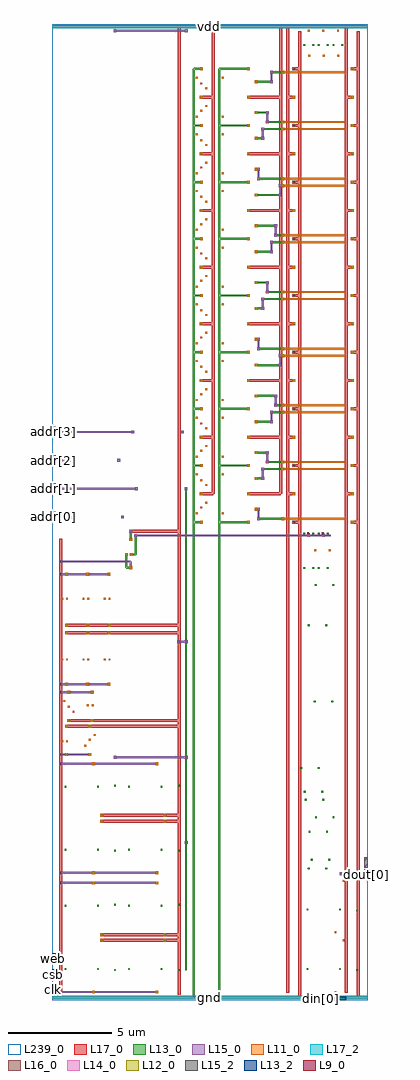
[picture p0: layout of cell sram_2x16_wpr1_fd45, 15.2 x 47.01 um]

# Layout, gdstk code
import gdstk
lib = gdstk.Library(unit=1e-6, precision=5e-10)
def R(c, l, rs):  # rectangles x0, y0, x1, y1
    for r in rs: c.add(gdstk.rectangle(r[:2], r[2:], *l))
def A(c, l, x, y, w, h, nx, ny, dx, dy):  # array of equal rectangles
    R(c, l, [(x+i*dx, y+j*dy, x+i*dx+w, y+j*dy+h) for i in range(nx) for j in range(ny)])
L9_0 = (9, 0)
L11_0 = (11, 0)
L12_0 = (12, 0)
L13_0 = (13, 0)
L13_2 = (13, 2)
L14_0 = (14, 0)
L15_0 = (15, 0)
L15_2 = (15, 2)
L16_0 = (16, 0)
L17_0 = (17, 0)
L17_2 = (17, 2)
L239_0 = (239, 0)

sram_2x16_wpr1_fd45 = lib.new_cell('sram_2x16_wpr1_fd45')
R(sram_2x16_wpr1_fd45, L9_0, [(12.275,22.445,12.365,22.535), (12.98,22.445,13.07,22.535)])
A(sram_2x16_wpr1_fd45, L11_0, 0.62, 15.145, 0.135, 0.135, 3, 2, 1.0225, 2.47)
A(sram_2x16_wpr1_fd45, L11_0, 0.6425, 15.1675, 0.09, 0.09, 3, 2, 1.0225, 2.47)
A(sram_2x16_wpr1_fd45, L11_0, 0.62, 17.975, 0.135, 0.135, 3, 2, 1.0225, 2.47)
A(sram_2x16_wpr1_fd45, L11_0, 0.6425, 17.9975, 0.09, 0.09, 3, 2, 1.0225, 2.47)
A(sram_2x16_wpr1_fd45, L11_0, 7.12, 22.95, 0.135, 0.135, 1, 17, 0, 1.365)
A(sram_2x16_wpr1_fd45, L11_0, 9.39, 22.95, 0.135, 0.135, 1, 17, 0, 1.365)
A(sram_2x16_wpr1_fd45, L11_0, 14.3925, 22.95, 0.135, 0.135, 1, 17, 0, 1.365)
A(sram_2x16_wpr1_fd45, L11_0, 7.1425, 22.9725, 0.09, 0.09, 1, 17, 0, 1.365)
A(sram_2x16_wpr1_fd45, L11_0, 9.4125, 22.9725, 0.09, 0.09, 1, 17, 0, 1.365)
A(sram_2x16_wpr1_fd45, L11_0, 11.595, 22.9725, 0.09, 0.09, 1, 17, 0, 1.365)
A(sram_2x16_wpr1_fd45, L11_0, 14.415, 22.9725, 0.09, 0.09, 1, 17, 0, 1.365)
A(sram_2x16_wpr1_fd45, L11_0, 11.5725, 24.315, 0.135, 0.135, 1, 8, 0, 2.73)
A(sram_2x16_wpr1_fd45, L11_0, 12.33, 45.4425, 0.09, 0.09, 3, 1, 0.705, 0)
A(sram_2x16_wpr1_fd45, L11_0, 12.31, 46.64, 0.09, 0.09, 3, 1, 0.705, 0)
R(sram_2x16_wpr1_fd45, L11_0, [(1.92,0.3175,2.055,0.4525), (4.98,0.3175,5.115,0.4525), (1.9425,0.34,2.0325,0.43), (5.0025,0.34,5.0925,0.43), (13.6,0.34,13.69,0.43), (2.31,2.8075,2.445,2.9425), (5.37,2.8075,5.505,2.9425), (2.3325,2.83,2.4225,2.92), (5.3925,2.83,5.4825,2.92), (13.99,2.83,14.08,2.92), (2.31,3.0825,2.445,3.2175), (5.37,3.0825,5.505,3.2175), (2.3325,3.105,2.4225,3.195), (5.3925,3.105,5.4825,3.195), (13.6,3.21,13.69,3.3), (1.92,5.5725,2.055,5.7075), (4.98,5.5725,5.115,5.7075), (1.9425,5.595,2.0325,5.685), (5.0025,5.595,5.0925,5.685), (13.99,5.7,14.08,5.79), (1.92,6.0575,2.055,6.1925), (4.98,6.0575,5.115,6.1925), (1.9425,6.08,2.0325,6.17), (5.0025,6.08,5.0925,6.17), (2.31,8.5475,2.445,8.6825), (5.37,8.5475,5.505,8.6825), (2.3325,8.57,2.4225,8.66), (5.3925,8.57,5.4825,8.66), (2.31,8.8225,2.445,8.9575), (5.37,8.8225,5.505,8.9575), (2.3325,8.845,2.4225,8.935), (5.3925,8.845,5.4825,8.935), (1.92,11.3125,2.055,11.4475), (4.98,11.3125,5.115,11.4475), (1.9425,11.335,2.0325,11.425), (5.0025,11.335,5.0925,11.425), (0.62,11.76,0.755,11.895), (1.7475,11.76,1.8825,11.895), (0.6425,11.7825,0.7325,11.8725), (1.77,11.7825,1.86,11.8725), (1.5525,12.21,1.6425,12.3), (0.4375,12.42,0.5275,12.51), (0.67,12.42,0.76,12.51), (1.7675,12.49,1.8575,12.58), (2.005,12.7225,2.095,12.8125), (0.62,13.125,0.755,13.26), (1.7475,13.125,1.8825,13.26), (0.6425,13.1475,0.7325,13.2375), (1.77,13.1475,1.86,13.2375), (0.725,13.395,0.86,13.53), (1.8575,13.395,1.9925,13.53), (0.7475,13.4175,0.8375,13.5075), (1.88,13.4175,1.97,13.5075), (0.9825,13.8425,1.0725,13.9325), (0.745,14.075,0.835,14.165), (1.675,14.145,1.765,14.235), (1.9075,14.145,1.9975,14.235), (0.53,14.355,0.62,14.445), (0.725,14.76,0.86,14.895), (1.8575,14.76,1.9925,14.895), (0.7475,14.7825,0.8375,14.8725), (1.88,14.7825,1.97,14.8725), (0.4375,16.3575,0.5275,16.4475), (0.67,16.3575,0.76,16.4475), (1.46,16.3575,1.55,16.4475), (1.6925,16.3575,1.7825,16.4475), (2.4825,16.3575,2.5725,16.4475), (2.715,16.3575,2.805,16.4475), (0.4375,19.2775,0.5275,19.3675), (0.67,19.2775,0.76,19.3675), (1.46,19.2775,1.55,19.3675), (1.6925,19.2775,1.7825,19.3675), (2.4825,19.2775,2.5725,19.3675), (2.715,19.2775,2.805,19.3675), (3.7125,20.755,3.8475,20.89), (3.735,20.7775,3.825,20.8675), (3.5075,21.3925,3.6425,21.5275), (3.74,21.3925,3.875,21.5275), (3.53,21.415,3.62,21.505), (3.7625,21.415,3.8525,21.505), (12.6275,21.6275,12.7175,21.7175), (13.3325,21.6275,13.4225,21.7175), (3.7125,22.12,3.8475,22.255), (3.735,22.1425,3.825,22.2325), (11.0325,23.1175,11.1675,23.2525), (11.1,23.14,14.13,23.23), (6.925,23.4,7.015,23.49), (8.1625,23.4,8.2525,23.49), (9.7625,23.5725,9.8975,23.7075), (9.785,23.595,9.875,23.685), (7.14,23.68,7.23,23.77), (7.3775,23.9125,7.4675,24.0025), (7.3775,24.7625,7.4675,24.8525), (7.14,24.995,7.23,25.085), (9.7625,25.0575,9.8975,25.1925), (9.785,25.08,9.875,25.17), (6.925,25.275,7.015,25.365), (8.1625,25.275,8.2525,25.365), (11.0325,25.5125,11.1675,25.6475), (11.1,25.535,14.13,25.625), (11.0325,25.8475,11.1675,25.9825), (11.1,25.87,14.13,25.96), (6.925,26.13,7.015,26.22), (8.1625,26.13,8.2525,26.22), (9.7625,26.3025,9.8975,26.4375), (9.785,26.325,9.875,26.415), (7.14,26.41,7.23,26.5), (7.3775,26.6425,7.4675,26.7325), (7.3775,27.4925,7.4675,27.5825), (7.14,27.725,7.23,27.815), (9.7625,27.7875,9.8975,27.9225), (9.785,27.81,9.875,27.9), (6.925,28.005,7.015,28.095), (8.1625,28.005,8.2525,28.095), (11.0325,28.2425,11.1675,28.3775), (11.1,28.265,14.13,28.355), (11.0325,28.5775,11.1675,28.7125), (11.1,28.6,14.13,28.69), (6.925,28.86,7.015,28.95), (8.1625,28.86,8.2525,28.95), (9.7625,29.0325,9.8975,29.1675), (9.785,29.055,9.875,29.145), (7.14,29.14,7.23,29.23), (7.3775,29.3725,7.4675,29.4625), (7.3775,30.2225,7.4675,30.3125), (7.14,30.455,7.23,30.545), (9.7625,30.5175,9.8975,30.6525), (9.785,30.54,9.875,30.63), (6.925,30.735,7.015,30.825), (8.1625,30.735,8.2525,30.825), (11.0325,30.9725,11.1675,31.1075), (11.1,30.995,14.13,31.085), (11.0325,31.3075,11.1675,31.4425), (11.1,31.33,14.13,31.42), (6.925,31.59,7.015,31.68), (8.1625,31.59,8.2525,31.68), (9.7625,31.7625,9.8975,31.8975), (9.785,31.785,9.875,31.875), (7.14,31.87,7.23,31.96), (7.3775,32.1025,7.4675,32.1925), (7.3775,32.9525,7.4675,33.0425), (7.14,33.185,7.23,33.275), (9.7625,33.2475,9.8975,33.3825), (9.785,33.27,9.875,33.36), (6.925,33.465,7.015,33.555), (8.1625,33.465,8.2525,33.555), (11.0325,33.7025,11.1675,33.8375), (11.1,33.725,14.13,33.815), (11.0325,34.0375,11.1675,34.1725), (11.1,34.06,14.13,34.15), (6.925,34.32,7.015,34.41), (8.1625,34.32,8.2525,34.41), (9.7625,34.4925,9.8975,34.6275), (9.785,34.515,9.875,34.605), (7.14,34.6,7.23,34.69), (7.3775,34.8325,7.4675,34.9225), (7.3775,35.6825,7.4675,35.7725), (7.14,35.915,7.23,36.005), (9.7625,35.9775,9.8975,36.1125), (9.785,36,9.875,36.09), (6.925,36.195,7.015,36.285), (8.1625,36.195,8.2525,36.285), (11.0325,36.4325,11.1675,36.5675), (11.1,36.455,14.13,36.545), (11.0325,36.7675,11.1675,36.9025), (11.1,36.79,14.13,36.88), (6.925,37.05,7.015,37.14), (8.1625,37.05,8.2525,37.14), (9.7625,37.2225,9.8975,37.3575), (9.785,37.245,9.875,37.335), (7.14,37.33,7.23,37.42), (7.3775,37.5625,7.4675,37.6525), (7.3775,38.4125,7.4675,38.5025), (7.14,38.645,7.23,38.735), (9.7625,38.7075,9.8975,38.8425), (9.785,38.73,9.875,38.82), (6.925,38.925,7.015,39.015), (8.1625,38.925,8.2525,39.015), (11.0325,39.1625,11.1675,39.2975), (11.1,39.185,14.13,39.275), (11.0325,39.4975,11.1675,39.6325), (11.1,39.52,14.13,39.61), (6.925,39.78,7.015,39.87), (8.1625,39.78,8.2525,39.87), (9.7625,39.9525,9.8975,40.0875), (9.785,39.975,9.875,40.065), (7.14,40.06,7.23,40.15), (7.3775,40.2925,7.4675,40.3825), (7.3775,41.1425,7.4675,41.2325), (7.14,41.375,7.23,41.465), (9.7625,41.4375,9.8975,41.5725), (9.785,41.46,9.875,41.55), (6.925,41.655,7.015,41.745), (8.1625,41.655,8.2525,41.745), (11.0325,41.8925,11.1675,42.0275), (11.1,41.915,14.13,42.005), (11.0325,42.2275,11.1675,42.3625), (11.1,42.25,14.13,42.34), (6.925,42.51,7.015,42.6), (8.1625,42.51,8.2525,42.6), (9.7625,42.6825,9.8975,42.8175), (9.785,42.705,9.875,42.795), (7.14,42.79,7.23,42.88), (7.3775,43.0225,7.4675,43.1125), (7.3775,43.8725,7.4675,43.9625), (7.14,44.105,7.23,44.195), (9.7625,44.1675,9.8975,44.3025), (9.785,44.19,9.875,44.28), (6.925,44.385,7.015,44.475), (8.1625,44.385,8.2525,44.475), (11.0325,44.6225,11.1675,44.7575), (11.1,44.645,14.13,44.735)])
A(sram_2x16_wpr1_fd45, L12_0, 0.655, 15.18, 0.065, 0.065, 3, 2, 1.0225, 2.47)
A(sram_2x16_wpr1_fd45, L12_0, 0.655, 18.01, 0.065, 0.065, 3, 2, 1.0225, 2.47)
R(sram_2x16_wpr1_fd45, L12_0, [(1.955,0.3525,2.02,0.4175), (5.015,0.3525,5.08,0.4175), (2.345,2.8425,2.41,2.9075), (5.405,2.8425,5.47,2.9075), (2.345,3.1175,2.41,3.1825), (5.405,3.1175,5.47,3.1825), (1.955,5.6075,2.02,5.6725), (5.015,5.6075,5.08,5.6725), (1.955,6.0925,2.02,6.1575), (5.015,6.0925,5.08,6.1575), (2.345,8.5825,2.41,8.6475), (5.405,8.5825,5.47,8.6475), (2.345,8.8575,2.41,8.9225), (5.405,8.8575,5.47,8.9225), (1.955,11.3475,2.02,11.4125), (5.015,11.3475,5.08,11.4125), (0.655,11.795,0.72,11.86), (1.7825,11.795,1.8475,11.86), (0.655,13.16,0.72,13.225), (1.7825,13.16,1.8475,13.225), (0.76,13.43,0.825,13.495), (1.8925,13.43,1.9575,13.495), (0.76,14.795,0.825,14.86), (1.8925,14.795,1.9575,14.86), (3.7475,20.79,3.8125,20.855), (3.5425,21.4275,3.6075,21.4925), (3.775,21.4275,3.84,21.4925), (3.7475,22.155,3.8125,22.22), (7.155,22.985,7.22,23.05), (9.425,22.985,9.49,23.05), (14.4275,22.985,14.4925,23.05), (11.0675,23.1525,11.1325,23.2175), (9.7975,23.6075,9.8625,23.6725), (7.155,24.35,7.22,24.415), (7.155,24.35,7.22,24.415), (9.425,24.35,9.49,24.415), (9.425,24.35,9.49,24.415), (11.6075,24.35,11.6725,24.415), (11.6075,24.35,11.6725,24.415), (14.4275,24.35,14.4925,24.415), (14.4275,24.35,14.4925,24.415), (9.7975,25.0925,9.8625,25.1575), (11.0675,25.5475,11.1325,25.6125), (7.155,25.715,7.22,25.78), (7.155,25.715,7.22,25.78), (9.425,25.715,9.49,25.78), (9.425,25.715,9.49,25.78), (14.4275,25.715,14.4925,25.78), (14.4275,25.715,14.4925,25.78), (11.0675,25.8825,11.1325,25.9475), (9.7975,26.3375,9.8625,26.4025), (7.155,27.08,7.22,27.145), (7.155,27.08,7.22,27.145), (9.425,27.08,9.49,27.145), (9.425,27.08,9.49,27.145), (11.6075,27.08,11.6725,27.145), (11.6075,27.08,11.6725,27.145), (14.4275,27.08,14.4925,27.145), (14.4275,27.08,14.4925,27.145), (9.7975,27.8225,9.8625,27.8875), (11.0675,28.2775,11.1325,28.3425), (7.155,28.445,7.22,28.51), (7.155,28.445,7.22,28.51), (9.425,28.445,9.49,28.51), (9.425,28.445,9.49,28.51), (14.4275,28.445,14.4925,28.51), (14.4275,28.445,14.4925,28.51), (11.0675,28.6125,11.1325,28.6775), (9.7975,29.0675,9.8625,29.1325), (7.155,29.81,7.22,29.875), (7.155,29.81,7.22,29.875), (9.425,29.81,9.49,29.875), (9.425,29.81,9.49,29.875), (11.6075,29.81,11.6725,29.875), (11.6075,29.81,11.6725,29.875), (14.4275,29.81,14.4925,29.875), (14.4275,29.81,14.4925,29.875), (9.7975,30.5525,9.8625,30.6175), (11.0675,31.0075,11.1325,31.0725), (7.155,31.175,7.22,31.24), (7.155,31.175,7.22,31.24), (9.425,31.175,9.49,31.24), (9.425,31.175,9.49,31.24), (14.4275,31.175,14.4925,31.24), (14.4275,31.175,14.4925,31.24), (11.0675,31.3425,11.1325,31.4075), (9.7975,31.7975,9.8625,31.8625), (7.155,32.54,7.22,32.605), (7.155,32.54,7.22,32.605), (9.425,32.54,9.49,32.605), (9.425,32.54,9.49,32.605), (11.6075,32.54,11.6725,32.605), (11.6075,32.54,11.6725,32.605), (14.4275,32.54,14.4925,32.605), (14.4275,32.54,14.4925,32.605), (9.7975,33.2825,9.8625,33.3475), (11.0675,33.7375,11.1325,33.8025), (7.155,33.905,7.22,33.97), (7.155,33.905,7.22,33.97), (9.425,33.905,9.49,33.97), (9.425,33.905,9.49,33.97), (14.4275,33.905,14.4925,33.97), (14.4275,33.905,14.4925,33.97), (11.0675,34.0725,11.1325,34.1375), (9.7975,34.5275,9.8625,34.5925), (7.155,35.27,7.22,35.335), (7.155,35.27,7.22,35.335), (9.425,35.27,9.49,35.335), (9.425,35.27,9.49,35.335), (11.6075,35.27,11.6725,35.335), (11.6075,35.27,11.6725,35.335), (14.4275,35.27,14.4925,35.335), (14.4275,35.27,14.4925,35.335), (9.7975,36.0125,9.8625,36.0775), (11.0675,36.4675,11.1325,36.5325), (7.155,36.635,7.22,36.7), (7.155,36.635,7.22,36.7), (9.425,36.635,9.49,36.7), (9.425,36.635,9.49,36.7), (14.4275,36.635,14.4925,36.7), (14.4275,36.635,14.4925,36.7), (11.0675,36.8025,11.1325,36.8675), (9.7975,37.2575,9.8625,37.3225), (7.155,38,7.22,38.065), (7.155,38,7.22,38.065), (9.425,38,9.49,38.065), (9.425,38,9.49,38.065), (11.6075,38,11.6725,38.065), (11.6075,38,11.6725,38.065), (14.4275,38,14.4925,38.065), (14.4275,38,14.4925,38.065), (9.7975,38.7425,9.8625,38.8075), (11.0675,39.1975,11.1325,39.2625), (7.155,39.365,7.22,39.43), (7.155,39.365,7.22,39.43), (9.425,39.365,9.49,39.43), (9.425,39.365,9.49,39.43), (14.4275,39.365,14.4925,39.43), (14.4275,39.365,14.4925,39.43), (11.0675,39.5325,11.1325,39.5975), (9.7975,39.9875,9.8625,40.0525), (7.155,40.73,7.22,40.795), (7.155,40.73,7.22,40.795), (9.425,40.73,9.49,40.795), (9.425,40.73,9.49,40.795), (11.6075,40.73,11.6725,40.795), (11.6075,40.73,11.6725,40.795), (14.4275,40.73,14.4925,40.795), (14.4275,40.73,14.4925,40.795), (9.7975,41.4725,9.8625,41.5375), (11.0675,41.9275,11.1325,41.9925), (7.155,42.095,7.22,42.16), (7.155,42.095,7.22,42.16), (9.425,42.095,9.49,42.16), (9.425,42.095,9.49,42.16), (14.4275,42.095,14.4925,42.16), (14.4275,42.095,14.4925,42.16), (11.0675,42.2625,11.1325,42.3275), (9.7975,42.7175,9.8625,42.7825), (7.155,43.46,7.22,43.525), (7.155,43.46,7.22,43.525), (9.425,43.46,9.49,43.525), (9.425,43.46,9.49,43.525), (11.6075,43.46,11.6725,43.525), (11.6075,43.46,11.6725,43.525), (14.4275,43.46,14.4925,43.525), (14.4275,43.46,14.4925,43.525), (9.7975,44.2025,9.8625,44.2675), (11.0675,44.6575,11.1325,44.7225), (7.155,44.825,7.22,44.89), (9.425,44.825,9.49,44.89), (14.4275,44.825,14.4925,44.89)])
A(sram_2x16_wpr1_fd45, L13_0, 0, 0.2425, 0.16, 0.5, 1, 3, 0, 0.75)
A(sram_2x16_wpr1_fd45, L13_0, 0.16, 0.4575, 0.1825, 0.07, 1, 3, 0, 0.75)
A(sram_2x16_wpr1_fd45, L13_0, 0.62, 15.145, 0.135, 0.135, 3, 2, 1.0225, 2.47)
A(sram_2x16_wpr1_fd45, L13_0, 0.62, 17.975, 0.135, 0.135, 3, 2, 1.0225, 2.47)
A(sram_2x16_wpr1_fd45, L13_0, 7.12, 22.95, 0.135, 0.135, 1, 17, 0, 1.365)
A(sram_2x16_wpr1_fd45, L13_0, 9.39, 22.95, 0.135, 0.135, 1, 17, 0, 1.365)
A(sram_2x16_wpr1_fd45, L13_0, 14.3925, 22.95, 0.135, 0.135, 1, 17, 0, 1.365)
A(sram_2x16_wpr1_fd45, L13_0, 6.8175, 22.9725, 0.37, 0.09, 1, 9, 0, 2.73)
A(sram_2x16_wpr1_fd45, L13_0, 8.055, 22.9725, 1.4025, 0.09, 1, 9, 0, 2.73)
A(sram_2x16_wpr1_fd45, L13_0, 9.8675, 23.1175, 0.135, 0.135, 1, 3, 0, 8.19)
A(sram_2x16_wpr1_fd45, L13_0, 9.935, 23.14, 1.165, 0.09, 1, 3, 0, 8.19)
A(sram_2x16_wpr1_fd45, L13_0, 9.7625, 23.5725, 0.24, 0.135, 1, 3, 0, 8.19)
A(sram_2x16_wpr1_fd45, L13_0, 9.83, 23.595, 0.105, 0.09, 1, 3, 0, 8.19)
A(sram_2x16_wpr1_fd45, L13_0, 11.5725, 24.315, 0.135, 0.135, 1, 8, 0, 2.73)
A(sram_2x16_wpr1_fd45, L13_0, 9.83, 25.08, 0.315, 0.09, 1, 3, 0, 8.19)
A(sram_2x16_wpr1_fd45, L13_0, 10.145, 25.535, 0.955, 0.09, 1, 3, 0, 8.19)
A(sram_2x16_wpr1_fd45, L13_0, 10.355, 25.87, 0.745, 0.09, 1, 3, 0, 8.19)
A(sram_2x16_wpr1_fd45, L13_0, 9.83, 26.325, 0.525, 0.09, 1, 3, 0, 8.19)
A(sram_2x16_wpr1_fd45, L13_0, 9.83, 27.81, 0.735, 0.09, 1, 3, 0, 8.19)
A(sram_2x16_wpr1_fd45, L13_0, 10.565, 28.265, 0.535, 0.09, 1, 3, 0, 8.19)
R(sram_2x16_wpr1_fd45, L13_0, [(12.7025,0,13.2025,0.16), (13.6575,0,14.1575,0.16), (6.75,0.0575,6.885,0.1925), (7.9875,0.0575,8.1225,0.1925), (6.7725,0.125,6.8625,44.8575), (8.01,0.125,8.1,44.8575), (1.92,0.3175,2.055,0.4525), (4.98,0.3175,5.115,0.4525), (2.9825,1.3975,3.0725,1.4875), (6.0425,1.3975,6.1325,1.4875), (14.64,1.3975,14.73,1.4875), (6.4025,1.4425,6.4925,24.6325), (0.5925,1.4475,0.6825,1.5375), (2.1625,1.4475,2.2525,1.5375), (3.6525,1.4475,3.7425,1.5375), (5.2225,1.4475,5.3125,1.5375), (12.25,1.4475,12.34,1.5375), (13.82,1.4475,13.91,1.5375), (2.31,2.8075,2.445,2.9425), (5.37,2.8075,5.505,2.9425), (2.31,3.0825,2.445,3.2175), (5.37,3.0825,5.505,3.2175), (14.64,4.2675,14.73,4.3575), (12.25,4.3175,12.34,4.4075), (13.82,4.3175,13.91,4.4075), (0.5925,4.4875,0.6825,4.5775), (2.1625,4.4875,2.2525,4.5775), (3.6525,4.4875,3.7425,4.5775), (5.2225,4.4875,5.3125,4.5775), (2.9825,4.5375,3.0725,4.6275), (6.0425,4.5375,6.1325,4.6275), (1.92,5.5725,2.055,5.7075), (4.98,5.5725,5.115,5.7075), (13.84,6.01,13.975,6.145), (14.6175,6.01,14.7525,6.145), (1.92,6.0575,2.055,6.1925), (4.98,6.0575,5.115,6.1925), (12.3075,6.29,12.3975,6.38), (13.1475,6.29,13.2375,6.38), (12.46,6.7175,12.55,6.8075), (13.3,6.7175,13.39,6.8075), (2.9825,7.1375,3.0725,7.2275), (6.0425,7.1375,6.1325,7.2275), (0.5925,7.1875,0.6825,7.2775), (2.1625,7.1875,2.2525,7.2775), (3.6525,7.1875,3.7425,7.2775), (5.2225,7.1875,5.3125,7.2775), (12.35,8.055,12.44,8.145), (13.19,8.055,13.28,8.145), (2.31,8.5475,2.445,8.6825), (5.37,8.5475,5.505,8.6825), (12.6625,8.75,12.7525,8.84), (13.5025,8.75,13.5925,8.84), (2.31,8.8225,2.445,8.9575), (5.37,8.8225,5.505,8.9575), (12.175,9.5975,12.265,9.6875), (13.015,9.5975,13.105,9.6875), (12.1275,9.995,12.2175,10.085), (12.9675,9.995,13.0575,10.085), (0.5925,10.2275,0.6825,10.3175), (2.1625,10.2275,2.2525,10.3175), (3.6525,10.2275,3.7425,10.3175), (5.2225,10.2275,5.3125,10.3175), (2.9825,10.2775,3.0725,10.3675), (6.0425,10.2775,6.1325,10.3675), (11.95,11.1325,12.04,11.2225), (12.79,11.1325,12.88,11.2225), (1.92,11.3125,2.055,11.4475), (4.98,11.3125,5.115,11.4475), (2.96,11.6275,3.095,11.7625), (0.62,11.76,0.755,11.895), (1.7475,11.76,1.8825,11.895), (0.62,13.125,0.755,13.26), (1.7475,13.125,1.8825,13.26), (0.725,13.395,0.86,13.53), (1.8575,13.395,1.9925,13.53), (12.61,14.335,12.7,14.425), (13.45,14.335,13.54,14.425), (0.725,14.76,0.86,14.895), (1.8575,14.76,1.9925,14.895), (6.02,17.195,6.155,17.33), (12.3075,18.0125,12.3975,18.1025), (13.1475,18.0125,13.2375,18.1025), (12.6575,19.9475,12.7475,20.0375), (13.4975,19.9475,13.5875,20.0375), (3.7125,20.755,3.8475,20.89), (12.0975,20.7675,12.1875,20.8575), (12.5225,20.7675,12.6125,20.8575), (12.8025,20.7675,12.8925,20.8575), (13.2275,20.7675,13.3175,20.8575), (3.575,20.7775,3.78,20.8675), (3.53,20.8225,3.62,21.46), (3.5075,21.3925,3.6425,21.5275), (3.74,21.3925,3.875,21.5275), (3.8075,21.415,4.0275,21.505), (3.9825,21.46,4.0725,22.3775), (3.7125,22.12,3.8475,22.255), (3.735,22.1875,3.825,22.5875), (3.96,22.31,4.095,22.445), (12.285,22.31,12.42,22.445), (12.99,22.31,13.125,22.445), (12.3075,22.3775,12.3975,22.49), (13.0125,22.3775,13.1025,22.49), (12.0975,22.4275,12.1875,22.5175), (12.5225,22.4275,12.6125,22.5175), (12.8025,22.4275,12.8925,22.5175), (13.2275,22.4275,13.3175,22.5175), (3.7125,22.52,3.8475,22.655), (11.0325,23.1175,11.1675,23.2525), (0.93,23.2,1.065,23.335), (3.32,23.2,3.455,23.335), (3.99,24.565,4.125,24.7), (6.38,24.565,6.515,24.7), (9.7625,25.0575,9.8975,25.1925), (10.0775,25.0575,10.2125,25.1925), (10.0775,25.5125,10.2125,25.6475), (11.0325,25.5125,11.1675,25.6475), (10.2875,25.8475,10.4225,25.9825), (11.0325,25.8475,11.1675,25.9825), (0.75,25.93,0.885,26.065), (3.14,25.93,3.275,26.065), (9.7625,26.3025,9.8975,26.4375), (10.2875,26.3025,10.4225,26.4375), (3.81,27.295,3.945,27.43), (6.2,27.295,6.335,27.43), (9.7625,27.7875,9.8975,27.9225), (10.4975,27.7875,10.6325,27.9225), (10.4975,28.2425,10.6325,28.3775), (11.0325,28.2425,11.1675,28.3775), (10.7075,28.5775,10.8425,28.7125), (11.0325,28.5775,11.1675,28.7125), (10.775,28.6,11.1,28.69), (9.7625,29.0325,9.8975,29.1675), (10.7075,29.0325,10.8425,29.1675), (9.83,29.055,10.775,29.145), (9.7625,30.5175,9.8975,30.6525), (10.9175,30.5175,11.0525,30.6525), (9.83,30.54,10.985,30.63), (10.9175,30.9725,11.1675,31.1075), (10.985,30.995,11.1,31.085), (11.0325,31.3075,11.1675,31.4425), (9.7625,33.2475,9.8975,33.3825), (10.0775,33.2475,10.2125,33.3825), (10.0775,33.7025,10.2125,33.8375), (11.0325,33.7025,11.1675,33.8375), (10.2875,34.0375,10.4225,34.1725), (11.0325,34.0375,11.1675,34.1725), (9.7625,34.4925,9.8975,34.6275), (10.2875,34.4925,10.4225,34.6275), (9.7625,35.9775,9.8975,36.1125), (10.4975,35.9775,10.6325,36.1125), (10.4975,36.4325,10.6325,36.5675), (11.0325,36.4325,11.1675,36.5675), (10.7075,36.7675,10.8425,36.9025), (11.0325,36.7675,11.1675,36.9025), (10.775,36.79,11.1,36.88), (9.7625,37.2225,9.8975,37.3575), (10.7075,37.2225,10.8425,37.3575), (9.83,37.245,10.775,37.335), (9.7625,38.7075,9.8975,38.8425), (10.9175,38.7075,11.0525,38.8425), (9.83,38.73,10.985,38.82), (10.9175,39.1625,11.1675,39.2975), (10.985,39.185,11.1,39.275), (11.0325,39.4975,11.1675,39.6325), (9.7625,41.4375,9.8975,41.5725), (10.0775,41.4375,10.2125,41.5725), (10.0775,41.8925,10.2125,42.0275), (11.0325,41.8925,11.1675,42.0275), (10.2875,42.2275,10.4225,42.3625), (11.0325,42.2275,11.1675,42.3625), (9.7625,42.6825,9.8975,42.8175), (10.2875,42.6825,10.4225,42.8175), (9.7625,44.1675,9.8975,44.3025), (10.4975,44.1675,10.6325,44.3025), (10.4975,44.6225,10.6325,44.7575), (11.0325,44.6225,11.1675,44.7575), (12.0975,45.9575,12.1875,46.0475), (12.5225,45.9575,12.6125,46.0475), (12.8025,45.9575,12.8925,46.0475), (13.2275,45.9575,13.3175,46.0475), (13.5075,45.9575,13.5975,46.0475), (13.9325,45.9575,14.0225,46.0475), (2.96,46.6175,3.095,46.7525), (6.395,46.6175,6.53,46.7525)])
A(sram_2x16_wpr1_fd45, L13_2, 0, 0.2425, 0.16, 0.5, 1, 3, 0, 0.75)
R(sram_2x16_wpr1_fd45, L13_2, [(12.7025,0,13.2025,0.16), (13.6575,0,14.1575,0.16)])
A(sram_2x16_wpr1_fd45, L14_0, 0.655, 15.18, 0.065, 0.065, 3, 2, 1.0225, 2.47)
A(sram_2x16_wpr1_fd45, L14_0, 0.655, 18.01, 0.065, 0.065, 3, 2, 1.0225, 2.47)
R(sram_2x16_wpr1_fd45, L14_0, [(6.785,0.0925,6.85,0.1575), (6.785,0.0925,6.85,0.1575), (6.785,0.0925,6.85,0.1575), (6.785,0.0925,6.85,0.1575), (6.785,0.0925,6.85,0.1575), (6.785,0.0925,6.85,0.1575), (6.785,0.0925,6.85,0.1575), (6.785,0.0925,6.85,0.1575), (6.785,0.0925,6.85,0.1575), (6.785,0.0925,6.85,0.1575), (6.785,0.0925,6.85,0.1575), (6.785,0.0925,6.85,0.1575), (6.785,0.0925,6.85,0.1575), (6.785,0.0925,6.85,0.1575), (6.785,0.0925,6.85,0.1575), (6.785,0.0925,6.85,0.1575), (8.0225,0.0925,8.0875,0.1575), (8.0225,0.0925,8.0875,0.1575), (8.0225,0.0925,8.0875,0.1575), (8.0225,0.0925,8.0875,0.1575), (8.0225,0.0925,8.0875,0.1575), (8.0225,0.0925,8.0875,0.1575), (8.0225,0.0925,8.0875,0.1575), (8.0225,0.0925,8.0875,0.1575), (8.0225,0.0925,8.0875,0.1575), (8.0225,0.0925,8.0875,0.1575), (8.0225,0.0925,8.0875,0.1575), (8.0225,0.0925,8.0875,0.1575), (8.0225,0.0925,8.0875,0.1575), (8.0225,0.0925,8.0875,0.1575), (8.0225,0.0925,8.0875,0.1575), (8.0225,0.0925,8.0875,0.1575), (1.955,0.3525,2.02,0.4175), (5.015,0.3525,5.08,0.4175), (2.345,2.8425,2.41,2.9075), (5.405,2.8425,5.47,2.9075), (2.345,3.1175,2.41,3.1825), (5.405,3.1175,5.47,3.1825), (1.955,5.6075,2.02,5.6725), (5.015,5.6075,5.08,5.6725), (1.955,6.0925,2.02,6.1575), (5.015,6.0925,5.08,6.1575), (2.345,8.5825,2.41,8.6475), (5.405,8.5825,5.47,8.6475), (2.345,8.8575,2.41,8.9225), (5.405,8.8575,5.47,8.9225), (1.955,11.3475,2.02,11.4125), (5.015,11.3475,5.08,11.4125), (0.655,11.795,0.72,11.86), (1.7825,11.795,1.8475,11.86), (0.655,13.16,0.72,13.225), (1.7825,13.16,1.8475,13.225), (0.76,13.43,0.825,13.495), (1.8925,13.43,1.9575,13.495), (0.76,14.795,0.825,14.86), (1.8925,14.795,1.9575,14.86), (3.7475,20.79,3.8125,20.855), (3.995,22.345,4.06,22.41), (12.32,22.345,12.385,22.41), (13.025,22.345,13.09,22.41), (3.7475,22.555,3.8125,22.62), (14.4275,22.985,14.4925,23.05), (9.9025,23.1525,9.9675,23.2175), (9.9025,23.6075,9.9675,23.6725), (7.155,24.35,7.22,24.415), (7.155,24.35,7.22,24.415), (9.425,24.35,9.49,24.415), (9.425,24.35,9.49,24.415), (11.6075,24.35,11.6725,24.415), (11.6075,24.35,11.6725,24.415), (14.4275,24.35,14.4925,24.415), (14.4275,24.35,14.4925,24.415), (10.1125,25.0925,10.1775,25.1575), (10.1125,25.5475,10.1775,25.6125), (14.4275,25.715,14.4925,25.78), (14.4275,25.715,14.4925,25.78), (10.3225,25.8825,10.3875,25.9475), (10.3225,26.3375,10.3875,26.4025), (7.155,27.08,7.22,27.145), (7.155,27.08,7.22,27.145), (9.425,27.08,9.49,27.145), (9.425,27.08,9.49,27.145), (11.6075,27.08,11.6725,27.145), (11.6075,27.08,11.6725,27.145), (14.4275,27.08,14.4925,27.145), (14.4275,27.08,14.4925,27.145), (10.5325,27.8225,10.5975,27.8875), (10.5325,28.2775,10.5975,28.3425), (14.4275,28.445,14.4925,28.51), (14.4275,28.445,14.4925,28.51), (10.7425,28.6125,10.8075,28.6775), (10.7425,29.0675,10.8075,29.1325), (7.155,29.81,7.22,29.875), (7.155,29.81,7.22,29.875), (9.425,29.81,9.49,29.875), (9.425,29.81,9.49,29.875), (11.6075,29.81,11.6725,29.875), (11.6075,29.81,11.6725,29.875), (14.4275,29.81,14.4925,29.875), (14.4275,29.81,14.4925,29.875), (10.9525,30.5525,11.0175,30.6175), (10.9525,31.0075,11.0175,31.0725), (14.4275,31.175,14.4925,31.24), (14.4275,31.175,14.4925,31.24), (9.9025,31.3425,9.9675,31.4075), (9.9025,31.7975,9.9675,31.8625), (7.155,32.54,7.22,32.605), (7.155,32.54,7.22,32.605), (9.425,32.54,9.49,32.605), (9.425,32.54,9.49,32.605), (11.6075,32.54,11.6725,32.605), (11.6075,32.54,11.6725,32.605), (14.4275,32.54,14.4925,32.605), (14.4275,32.54,14.4925,32.605), (10.1125,33.2825,10.1775,33.3475), (10.1125,33.7375,10.1775,33.8025), (14.4275,33.905,14.4925,33.97), (14.4275,33.905,14.4925,33.97), (10.3225,34.0725,10.3875,34.1375), (10.3225,34.5275,10.3875,34.5925), (7.155,35.27,7.22,35.335), (7.155,35.27,7.22,35.335), (9.425,35.27,9.49,35.335), (9.425,35.27,9.49,35.335), (11.6075,35.27,11.6725,35.335), (11.6075,35.27,11.6725,35.335), (14.4275,35.27,14.4925,35.335), (14.4275,35.27,14.4925,35.335), (10.5325,36.0125,10.5975,36.0775), (10.5325,36.4675,10.5975,36.5325), (14.4275,36.635,14.4925,36.7), (14.4275,36.635,14.4925,36.7), (10.7425,36.8025,10.8075,36.8675), (10.7425,37.2575,10.8075,37.3225), (7.155,38,7.22,38.065), (7.155,38,7.22,38.065), (9.425,38,9.49,38.065), (9.425,38,9.49,38.065), (11.6075,38,11.6725,38.065), (11.6075,38,11.6725,38.065), (14.4275,38,14.4925,38.065), (14.4275,38,14.4925,38.065), (10.9525,38.7425,11.0175,38.8075), (10.9525,39.1975,11.0175,39.2625), (14.4275,39.365,14.4925,39.43), (14.4275,39.365,14.4925,39.43), (9.9025,39.5325,9.9675,39.5975), (9.9025,39.9875,9.9675,40.0525), (7.155,40.73,7.22,40.795), (7.155,40.73,7.22,40.795), (9.425,40.73,9.49,40.795), (9.425,40.73,9.49,40.795), (11.6075,40.73,11.6725,40.795), (11.6075,40.73,11.6725,40.795), (14.4275,40.73,14.4925,40.795), (14.4275,40.73,14.4925,40.795), (10.1125,41.4725,10.1775,41.5375), (10.1125,41.9275,10.1775,41.9925), (14.4275,42.095,14.4925,42.16), (14.4275,42.095,14.4925,42.16), (10.3225,42.2625,10.3875,42.3275), (10.3225,42.7175,10.3875,42.7825), (7.155,43.46,7.22,43.525), (7.155,43.46,7.22,43.525), (9.425,43.46,9.49,43.525), (9.425,43.46,9.49,43.525), (11.6075,43.46,11.6725,43.525), (11.6075,43.46,11.6725,43.525), (14.4275,43.46,14.4925,43.525), (14.4275,43.46,14.4925,43.525), (10.5325,44.2025,10.5975,44.2675), (10.5325,44.6575,10.5975,44.7225), (14.4275,44.825,14.4925,44.89)])
A(sram_2x16_wpr1_fd45, L15_0, 0.62, 15.145, 0.135, 0.135, 3, 2, 1.0225, 2.47)
A(sram_2x16_wpr1_fd45, L15_0, 0.6175, 17.6125, 0.14, 0.14, 3, 2, 1.0225, 0.36)
A(sram_2x16_wpr1_fd45, L15_0, 0.62, 17.975, 0.135, 0.135, 3, 2, 1.0225, 2.47)
A(sram_2x16_wpr1_fd45, L15_0, 11.57, 22.9475, 0.14, 0.14, 1, 17, 0, 1.365)
A(sram_2x16_wpr1_fd45, L15_0, 14.39, 22.9475, 0.14, 0.14, 1, 17, 0, 1.365)
A(sram_2x16_wpr1_fd45, L15_0, 14.3925, 22.95, 0.135, 0.135, 1, 17, 0, 1.365)
A(sram_2x16_wpr1_fd45, L15_0, 0, 23.0175, 0.16, 0.5, 1, 4, 0, 1.365)
A(sram_2x16_wpr1_fd45, L15_0, 9.89, 23.185, 0.09, 0.455, 1, 3, 0, 8.19)
A(sram_2x16_wpr1_fd45, L15_0, 7.1175, 24.3125, 0.14, 0.14, 1, 8, 0, 2.73)
A(sram_2x16_wpr1_fd45, L15_0, 9.3875, 24.3125, 0.14, 0.14, 1, 8, 0, 2.73)
A(sram_2x16_wpr1_fd45, L15_0, 7.12, 24.315, 0.135, 0.135, 1, 8, 0, 2.73)
A(sram_2x16_wpr1_fd45, L15_0, 9.39, 24.315, 0.135, 0.135, 1, 8, 0, 2.73)
A(sram_2x16_wpr1_fd45, L15_0, 11.5725, 24.315, 0.135, 0.135, 1, 8, 0, 2.73)
A(sram_2x16_wpr1_fd45, L15_0, 10.1, 25.125, 0.09, 0.455, 1, 3, 0, 8.19)
A(sram_2x16_wpr1_fd45, L15_0, 10.31, 25.915, 0.09, 0.455, 1, 3, 0, 8.19)
A(sram_2x16_wpr1_fd45, L15_0, 10.52, 27.855, 0.09, 0.455, 1, 3, 0, 8.19)
R(sram_2x16_wpr1_fd45, L15_0, [(6.7475,0.055,6.8875,0.195), (7.985,0.055,8.125,0.195), (6.75,0.0575,6.885,0.1925), (7.9875,0.0575,8.1225,0.1925), (0.335,0.315,0.475,0.455), (1.92,0.3175,2.055,0.4525), (4.98,0.3175,5.115,0.4525), (0.405,0.34,5.0475,0.43), (2.3075,2.805,2.4475,2.945), (5.3675,2.805,5.5075,2.945), (2.31,2.8075,2.445,2.9425), (5.37,2.8075,5.505,2.9425), (2.3075,3.08,2.4475,3.22), (5.3675,3.08,5.5075,3.22), (2.31,3.0825,2.445,3.2175), (5.37,3.0825,5.505,3.2175), (0.335,5.57,0.475,5.71), (1.92,5.5725,2.055,5.7075), (4.98,5.5725,5.115,5.7075), (0.405,5.595,5.0475,5.685), (15.0425,5.8,15.2025,6.3), (13.84,6.01,13.975,6.145), (14.6175,6.01,14.7525,6.145), (0.335,6.055,0.475,6.195), (1.92,6.0575,2.055,6.1925), (4.98,6.0575,5.115,6.1925), (0.405,6.08,5.0475,6.17), (15.0425,6.37,15.2025,6.87), (6.395,7.52,6.53,7.655), (2.3075,8.545,2.4475,8.685), (5.3675,8.545,5.5075,8.685), (2.31,8.5475,2.445,8.6825), (5.37,8.5475,5.505,8.6825), (2.3075,8.82,2.4475,8.96), (5.3675,8.82,5.5075,8.96), (2.31,8.8225,2.445,8.9575), (5.37,8.8225,5.505,8.9575), (0.335,11.31,0.475,11.45), (1.92,11.3125,2.055,11.4475), (4.98,11.3125,5.115,11.4475), (0.405,11.335,5.0475,11.425), (2.96,11.6275,3.095,11.7625), (6.395,11.6275,6.53,11.7625), (3.0275,11.65,6.4625,11.74), (0.335,11.7575,0.475,11.8975), (0.62,11.76,0.755,11.895), (1.7475,11.76,1.8825,11.895), (0.405,11.7825,1.815,11.8725), (0.6175,13.1225,0.7575,13.2625), (1.745,13.1225,1.885,13.2625), (0.62,13.125,0.755,13.26), (1.7475,13.125,1.8825,13.26), (0.7225,13.3925,0.8625,13.5325), (1.855,13.3925,1.995,13.5325), (0.725,13.395,0.86,13.53), (1.8575,13.395,1.9925,13.53), (0.335,14.7575,0.475,14.8975), (0.725,14.76,0.86,14.895), (1.8575,14.76,1.9925,14.895), (0.405,14.7825,1.925,14.8725), (0.335,15.1425,0.475,15.2825), (0.405,15.1675,2.7325,15.2575), (6.02,17.195,6.155,17.33), (6.395,17.195,6.53,17.33), (6.0875,17.2175,6.4625,17.3075), (0.335,20.4425,0.475,20.5825), (0.405,20.4675,2.7325,20.5575), (3.7125,20.755,3.8475,20.89), (3.735,20.8225,3.825,21.1225), (0.335,21.0525,0.475,21.1925), (0.405,21.0775,3.78,21.1675), (3.96,22.31,4.095,22.445), (12.285,22.31,12.42,22.445), (12.99,22.31,13.125,22.445), (4.0275,22.3325,13.41,22.4225), (3.71,22.5175,3.85,22.6575), (3.7125,22.52,3.8475,22.655), (9.8675,23.1175,10.0025,23.2525), (0.93,23.2,1.065,23.335), (3.32,23.2,3.455,23.335), (0.16,23.2225,0.9975,23.3125), (9.8675,23.5725,10.0025,23.7075), (3.99,24.565,4.125,24.7), (6.38,24.565,6.515,24.7), (0.16,24.5875,4.0575,24.6775), (10.0775,25.0575,10.2125,25.1925), (10.0775,25.5125,10.2125,25.6475), (10.2875,25.8475,10.4225,25.9825), (0.75,25.93,0.885,26.065), (3.14,25.93,3.275,26.065), (0.16,25.9525,0.8175,26.0425), (10.2875,26.3025,10.4225,26.4375), (3.81,27.295,3.945,27.43), (6.2,27.295,6.335,27.43), (0.16,27.3175,3.8775,27.4075), (10.4975,27.7875,10.6325,27.9225), (10.4975,28.2425,10.6325,28.3775), (10.7075,28.5775,10.8425,28.7125), (10.73,28.645,10.82,29.1), (10.7075,29.0325,10.8425,29.1675), (10.9175,30.5175,11.0525,30.6525), (10.94,30.585,11.03,31.04), (10.9175,30.9725,11.0525,31.1075), (9.8675,31.3075,10.0025,31.4425), (9.8675,31.7625,10.0025,31.8975), (10.0775,33.2475,10.2125,33.3825), (10.0775,33.7025,10.2125,33.8375), (10.2875,34.0375,10.4225,34.1725), (10.2875,34.4925,10.4225,34.6275), (10.4975,35.9775,10.6325,36.1125), (10.4975,36.4325,10.6325,36.5675), (10.7075,36.7675,10.8425,36.9025), (10.73,36.835,10.82,37.29), (10.7075,37.2225,10.8425,37.3575), (10.9175,38.7075,11.0525,38.8425), (10.94,38.775,11.03,39.23), (10.9175,39.1625,11.0525,39.2975), (9.8675,39.4975,10.0025,39.6325), (9.8675,39.9525,10.0025,40.0875), (10.0775,41.4375,10.2125,41.5725), (10.0775,41.8925,10.2125,42.0275), (10.2875,42.2275,10.4225,42.3625), (10.2875,42.6825,10.4225,42.8175), (10.4975,44.1675,10.6325,44.3025), (10.4975,44.6225,10.6325,44.7575), (2.96,46.6175,3.095,46.7525), (6.395,46.6175,6.53,46.7525), (3.0275,46.64,6.4625,46.73)])
A(sram_2x16_wpr1_fd45, L15_2, 0, 23.0175, 0.16, 0.5, 1, 4, 0, 1.365)
R(sram_2x16_wpr1_fd45, L15_2, [(15.0425,5.8,15.2025,6.3), (15.0425,6.37,15.2025,6.87)])
A(sram_2x16_wpr1_fd45, L16_0, 0.6525, 17.6475, 0.07, 0.07, 3, 2, 1.0225, 0.36)
R(sram_2x16_wpr1_fd45, L16_0, [(6.7825,0.09,6.8525,0.16), (6.7825,0.09,6.8525,0.16), (6.7825,0.09,6.8525,0.16), (6.7825,0.09,6.8525,0.16), (6.7825,0.09,6.8525,0.16), (6.7825,0.09,6.8525,0.16), (6.7825,0.09,6.8525,0.16), (6.7825,0.09,6.8525,0.16), (6.7825,0.09,6.8525,0.16), (6.7825,0.09,6.8525,0.16), (6.7825,0.09,6.8525,0.16), (6.7825,0.09,6.8525,0.16), (6.7825,0.09,6.8525,0.16), (6.7825,0.09,6.8525,0.16), (6.7825,0.09,6.8525,0.16), (6.7825,0.09,6.8525,0.16), (8.02,0.09,8.09,0.16), (8.02,0.09,8.09,0.16), (8.02,0.09,8.09,0.16), (8.02,0.09,8.09,0.16), (8.02,0.09,8.09,0.16), (8.02,0.09,8.09,0.16), (8.02,0.09,8.09,0.16), (8.02,0.09,8.09,0.16), (8.02,0.09,8.09,0.16), (8.02,0.09,8.09,0.16), (8.02,0.09,8.09,0.16), (8.02,0.09,8.09,0.16), (8.02,0.09,8.09,0.16), (8.02,0.09,8.09,0.16), (8.02,0.09,8.09,0.16), (8.02,0.09,8.09,0.16), (0.37,0.35,0.44,0.42), (0.37,0.35,0.44,0.42), (2.3425,2.84,2.4125,2.91), (5.4025,2.84,5.4725,2.91), (2.3425,3.115,2.4125,3.185), (5.4025,3.115,5.4725,3.185), (0.37,5.605,0.44,5.675), (0.37,5.605,0.44,5.675), (0.37,6.09,0.44,6.16), (0.37,6.09,0.44,6.16), (2.3425,8.58,2.4125,8.65), (5.4025,8.58,5.4725,8.65), (2.3425,8.855,2.4125,8.925), (5.4025,8.855,5.4725,8.925), (0.37,11.345,0.44,11.415), (0.37,11.345,0.44,11.415), (0.37,11.7925,0.44,11.8625), (0.37,11.7925,0.44,11.8625), (0.6525,13.1575,0.7225,13.2275), (1.78,13.1575,1.85,13.2275), (0.7575,13.4275,0.8275,13.4975), (1.89,13.4275,1.96,13.4975), (0.37,14.7925,0.44,14.8625), (0.37,14.7925,0.44,14.8625), (0.37,15.1775,0.44,15.2475), (0.37,15.1775,0.44,15.2475), (0.37,15.1775,0.44,15.2475), (0.37,20.4775,0.44,20.5475), (0.37,20.4775,0.44,20.5475), (0.37,20.4775,0.44,20.5475), (0.37,21.0875,0.44,21.1575), (3.745,22.5525,3.815,22.6225), (11.605,22.9825,11.675,23.0525), (14.425,22.9825,14.495,23.0525), (7.1525,24.3475,7.2225,24.4175), (7.1525,24.3475,7.2225,24.4175), (9.4225,24.3475,9.4925,24.4175), (9.4225,24.3475,9.4925,24.4175), (11.605,24.3475,11.675,24.4175), (11.605,24.3475,11.675,24.4175), (14.425,24.3475,14.495,24.4175), (14.425,24.3475,14.495,24.4175), (11.605,25.7125,11.675,25.7825), (11.605,25.7125,11.675,25.7825), (14.425,25.7125,14.495,25.7825), (14.425,25.7125,14.495,25.7825), (7.1525,27.0775,7.2225,27.1475), (7.1525,27.0775,7.2225,27.1475), (9.4225,27.0775,9.4925,27.1475), (9.4225,27.0775,9.4925,27.1475), (11.605,27.0775,11.675,27.1475), (11.605,27.0775,11.675,27.1475), (14.425,27.0775,14.495,27.1475), (14.425,27.0775,14.495,27.1475), (11.605,28.4425,11.675,28.5125), (11.605,28.4425,11.675,28.5125), (14.425,28.4425,14.495,28.5125), (14.425,28.4425,14.495,28.5125), (7.1525,29.8075,7.2225,29.8775), (7.1525,29.8075,7.2225,29.8775), (9.4225,29.8075,9.4925,29.8775), (9.4225,29.8075,9.4925,29.8775), (11.605,29.8075,11.675,29.8775), (11.605,29.8075,11.675,29.8775), (14.425,29.8075,14.495,29.8775), (14.425,29.8075,14.495,29.8775), (11.605,31.1725,11.675,31.2425), (11.605,31.1725,11.675,31.2425), (14.425,31.1725,14.495,31.2425), (14.425,31.1725,14.495,31.2425), (7.1525,32.5375,7.2225,32.6075), (7.1525,32.5375,7.2225,32.6075), (9.4225,32.5375,9.4925,32.6075), (9.4225,32.5375,9.4925,32.6075), (11.605,32.5375,11.675,32.6075), (11.605,32.5375,11.675,32.6075), (14.425,32.5375,14.495,32.6075), (14.425,32.5375,14.495,32.6075), (11.605,33.9025,11.675,33.9725), (11.605,33.9025,11.675,33.9725), (14.425,33.9025,14.495,33.9725), (14.425,33.9025,14.495,33.9725), (7.1525,35.2675,7.2225,35.3375), (7.1525,35.2675,7.2225,35.3375), (9.4225,35.2675,9.4925,35.3375), (9.4225,35.2675,9.4925,35.3375), (11.605,35.2675,11.675,35.3375), (11.605,35.2675,11.675,35.3375), (14.425,35.2675,14.495,35.3375), (14.425,35.2675,14.495,35.3375), (11.605,36.6325,11.675,36.7025), (11.605,36.6325,11.675,36.7025), (14.425,36.6325,14.495,36.7025), (14.425,36.6325,14.495,36.7025), (7.1525,37.9975,7.2225,38.0675), (7.1525,37.9975,7.2225,38.0675), (9.4225,37.9975,9.4925,38.0675), (9.4225,37.9975,9.4925,38.0675), (11.605,37.9975,11.675,38.0675), (11.605,37.9975,11.675,38.0675), (14.425,37.9975,14.495,38.0675), (14.425,37.9975,14.495,38.0675), (11.605,39.3625,11.675,39.4325), (11.605,39.3625,11.675,39.4325), (14.425,39.3625,14.495,39.4325), (14.425,39.3625,14.495,39.4325), (7.1525,40.7275,7.2225,40.7975), (7.1525,40.7275,7.2225,40.7975), (9.4225,40.7275,9.4925,40.7975), (9.4225,40.7275,9.4925,40.7975), (11.605,40.7275,11.675,40.7975), (11.605,40.7275,11.675,40.7975), (14.425,40.7275,14.495,40.7975), (14.425,40.7275,14.495,40.7975), (11.605,42.0925,11.675,42.1625), (11.605,42.0925,11.675,42.1625), (14.425,42.0925,14.495,42.1625), (14.425,42.0925,14.495,42.1625), (7.1525,43.4575,7.2225,43.5275), (7.1525,43.4575,7.2225,43.5275), (9.4225,43.4575,9.4925,43.5275), (9.4225,43.4575,9.4925,43.5275), (11.605,43.4575,11.675,43.5275), (11.605,43.4575,11.675,43.5275), (14.425,43.4575,14.495,43.5275), (14.425,43.4575,14.495,43.5275), (11.605,44.8225,11.675,44.8925), (14.425,44.8225,14.495,44.8925)])
A(sram_2x16_wpr1_fd45, L17_0, 11.57, 22.9475, 0.36, 0.14, 1, 9, 0, 2.73)
A(sram_2x16_wpr1_fd45, L17_0, 14.39, 22.9475, 0.36, 0.14, 1, 9, 0, 2.73)
A(sram_2x16_wpr1_fd45, L17_0, 7.1175, 24.3125, 0.6475, 0.14, 1, 8, 0, 2.73)
A(sram_2x16_wpr1_fd45, L17_0, 9.3875, 24.3125, 1.6225, 0.14, 1, 8, 0, 2.73)
A(sram_2x16_wpr1_fd45, L17_0, 11.35, 24.3125, 0.36, 0.14, 1, 8, 0, 2.73)
A(sram_2x16_wpr1_fd45, L17_0, 14.17, 24.3125, 0.36, 0.14, 1, 8, 0, 2.73)
R(sram_2x16_wpr1_fd45, L17_0, [(0,0.05,15.2025,0.2), (6.7475,0.055,6.8875,0.195), (7.985,0.055,8.125,0.195), (0.335,0.125,0.475,22.2225), (11.86,0.2,12,46.675), (14.68,0.2,14.82,46.675), (6.0525,0.2425,6.1925,46.89), (11.28,0.34,11.42,46.815), (14.1,0.34,14.24,46.815), (2.3075,2.805,6.1225,2.945), (2.3075,3.08,6.1225,3.22), (2.3075,8.545,6.1225,8.685), (2.3075,8.82,6.1225,8.96), (0.6175,13.1225,6.1225,13.2625), (0.7225,13.3925,6.1225,13.5325), (0.6175,17.6125,6.1225,17.7525), (0.6175,17.9725,6.1225,18.1125), (3.71,22.5175,6.1225,22.6575), (7.695,24.3825,7.835,46.89), (10.94,24.3825,11.08,46.89), (0,46.815,15.2025,46.965)])
R(sram_2x16_wpr1_fd45, L17_2, [(0,0.05,15.2025,0.2), (0,46.815,15.2025,46.965)])
R(sram_2x16_wpr1_fd45, L239_0, [(0,0,15.2025,47.015)])
sram_2x16_wpr1_fd45.add(gdstk.Label('clk', (0.08,0.4925), layer=13, texttype=1))
sram_2x16_wpr1_fd45.add(gdstk.Label('csb', (0.08,1.2425), layer=13, texttype=1))
sram_2x16_wpr1_fd45.add(gdstk.Label('web', (0.08,1.9925), layer=13, texttype=1))
sram_2x16_wpr1_fd45.add(gdstk.Label('addr[0]', (0.08,23.2675), layer=15, texttype=1))
sram_2x16_wpr1_fd45.add(gdstk.Label('addr[1]', (0.08,24.6325), layer=15, texttype=1))
sram_2x16_wpr1_fd45.add(gdstk.Label('addr[2]', (0.08,25.9975), layer=15, texttype=1))
sram_2x16_wpr1_fd45.add(gdstk.Label('addr[3]', (0.08,27.3625), layer=15, texttype=1))
sram_2x16_wpr1_fd45.add(gdstk.Label('din[0]', (12.9525,0.08), layer=13, texttype=1))
sram_2x16_wpr1_fd45.add(gdstk.Label('dout[0]', (15.1225,6.05), layer=15, texttype=1))
sram_2x16_wpr1_fd45.add(gdstk.Label('din[1]', (13.9075,0.08), layer=13, texttype=1))
sram_2x16_wpr1_fd45.add(gdstk.Label('dout[1]', (15.1225,6.62), layer=15, texttype=1))
sram_2x16_wpr1_fd45.add(gdstk.Label('vdd', (7.6,46.89), layer=17, texttype=1))
sram_2x16_wpr1_fd45.add(gdstk.Label('gnd', (7.6,0.125), layer=17, texttype=1))

lib.write_gds('sram_2x16_wpr1_fd45.gds')
